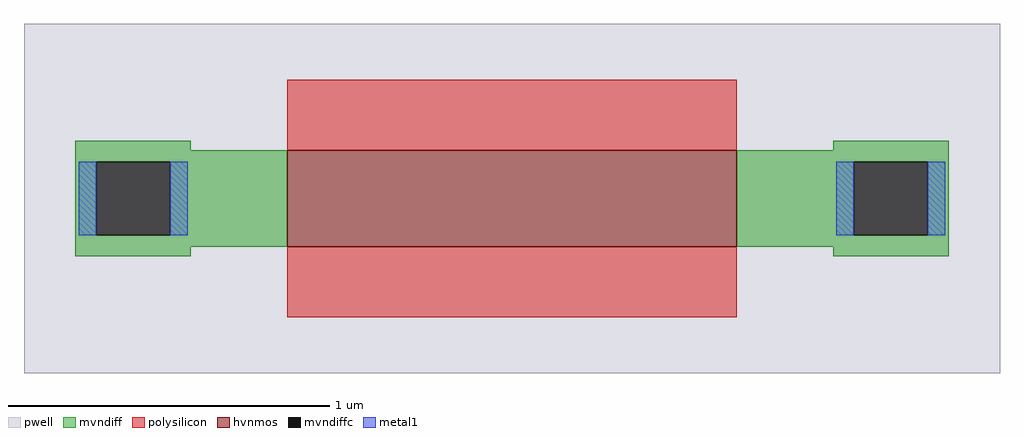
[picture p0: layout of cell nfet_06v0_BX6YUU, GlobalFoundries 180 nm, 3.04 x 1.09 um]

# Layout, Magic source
magic
tech gf180mcuC
magscale 1 10
<< pwell >>
rect -304 -109 304 109
<< hvnmos >>
rect -140 -30 140 30
<< mvndiff >>
rect -272 30 -200 36
rect 200 30 272 36
rect -272 23 -140 30
rect -272 -23 -259 23
rect -213 -23 -140 23
rect -272 -30 -140 -23
rect 140 23 272 30
rect 140 -23 213 23
rect 259 -23 272 23
rect 140 -30 272 -23
rect -272 -36 -200 -30
rect 200 -36 272 -30
<< mvndiffc >>
rect -259 -23 -213 23
rect 213 -23 259 23
<< polysilicon >>
rect -140 30 140 74
rect -140 -74 140 -30
<< metal1 >>
rect -270 -23 -259 23
rect -213 -23 -202 23
rect 202 -23 213 23
rect 259 -23 270 23
<< properties >>
string gencell nfet_06v0
string library gf180mcu
string parameters w 0.3 l 1.4 m 1 nf 1 diffcov 100 polycov 100 guard 0 glc 0 grc 0 gtc 0 gbc 0 tbcov 100 rlcov 100 topc 0 botc 0 poverlap 0 doverlap 0 lmin 0.7 wmin 0.3 class mosfet full_metal 0 compatible {nfet_03v3 nfet_05v0 nfet_06v0 nfet_06v0_nvt}
<< end >>
